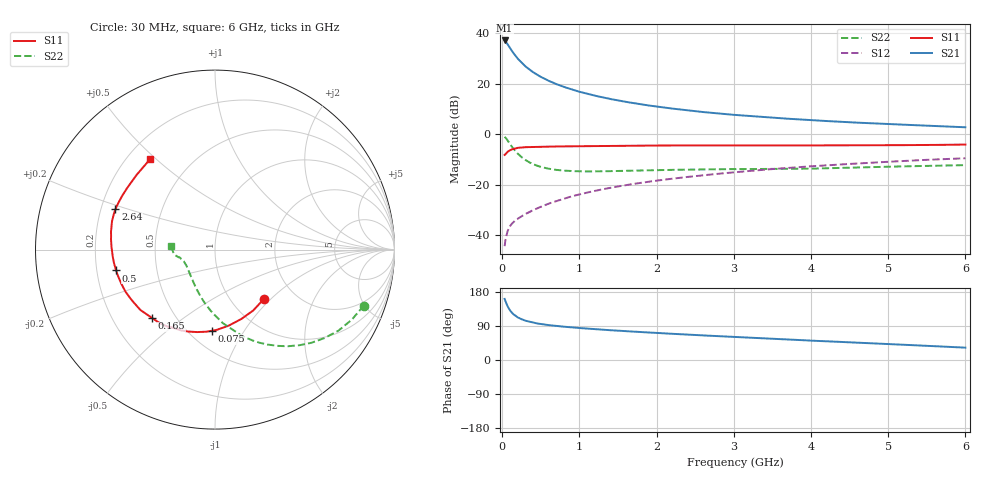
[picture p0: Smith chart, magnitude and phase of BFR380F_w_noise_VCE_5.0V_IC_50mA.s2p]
! Infineon Technologies  Discrete & RF Semiconductors
! BFR380F
! VCE =  5.0 V,  IC =  50 mA
! Common Emitter S-Parameters:  Nov 2015
# GHz  S  MA  R  50
!  f  S11  S21  S12  S22
! GHz  MAG  ANG  MAG  ANG  MAG  ANG  MAG  ANG
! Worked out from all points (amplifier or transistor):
!   206 points, 30 MHz to 6 GHz, reference 50 ohm
!   highest |S21| = 37.2 dB at 30 MHz (marker M1)
!   |S21| within 3 dB of that: start of sweep to 99.94 MHz
!   unconditionally stable (mu >= 1): 911.5 MHz to 4.866 GHz
!   at 200 MHz: K = 0.60, MSG = 31.7 dB, |S12| = -33.6 dB
!   at 1.56 GHz: K = 1.03, MAG = 15.6 dB, |S12| = -20.4 dB
!   at 6 GHz: K = 0.99, MSG = 6.1 dB, |S12| = -9.6 dB
!   lowest NFmin = 1.53 dB at 900 MHz
!   S11 on the Smith chart (normalised r, x): 30 MHz: 1.41, -0.91; 75 MHz: 0.64, -0.73; 165 MHz: 0.37, -0.39; 500 MHz: 0.28, -0.10; 2.64 GHz: 0.26, +0.18; 6 GHz: 0.29, +0.48
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0.03  0.3868 -44.9  72.1 161.2  0.006 77.5  0.8858 -20.6
0.05  0.4136 -69.3  66.76 150.1  0.0092 70.8  0.8226 -33.3
0.07  0.4472 -88.7  60.18 141.1  0.0121 64.9  0.7464 -44.1
0.075  0.4527 -92.4  58.59 139.4  0.0125 63.8  0.7271 -46.4
0.1  0.4804 -108.1  51.02 131.0  0.015 59.8  0.6385 -57.1
0.12  0.4929 -117.8  45.81 125.8  0.0165 58.3  0.5772 -64.2
0.15  0.5138 -128.7  39.39 119.6  0.0184 56.6  0.5017 -72.8
0.165  0.5175 -132.5  36.94 117.7  0.0192 56.5  0.4726 -75.7
0.2  0.5348 -141.0  31.4 112.3  0.021 56.2  0.4106 -84.1
0.24  0.5408 -147.4  27.08 108.5  0.023 57.2  0.3609 -90.9
0.3  0.5513 -155.0  22.07 103.7  0.026 59.0  0.3065 -100.2
0.4  0.558 -162.8  16.89 98.6  0.0311 61.9  0.2539 -111.9
0.5  0.5634 -168.1  13.64 94.9  0.0363 64.3  0.2237 -121.3
0.7  0.5703 -175.0  9.832 89.9  0.0471 67.7  0.1956 -135.0
1.04  0.5778 177.6  6.676 83.8  0.066 70.3  0.1828 -149.3
1.4  0.5855 171.8  4.974 78.6  0.0862 71.1  0.1845 -157.7
2.02  0.5952 164.4  3.49 71.2  0.1207 70.4  0.1933 -163.9
2.64  0.5984 158.0  2.71 64.5  0.1548 68.9  0.2003 -167.2
3.1  0.598 153.9  2.353 60.0  0.1804 67.2  0.2028 -167.9
4.1  0.5978 144.2  1.855 50.3  0.2355 62.8  0.2085 -168.4
5.1  0.6042 135.1  1.562 41.1  0.2882 58.0  0.2278 -173.6
6  0.6209 125.4  1.368 32.6  0.3324 52.7  0.2433 175.9
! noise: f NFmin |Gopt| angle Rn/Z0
0.45  1.55  0.41  -175  0.08
0.9  1.53  0.44  -174  0.07
1.8  1.72  0.48  -162  0.09
1.9  1.81  0.48  -163  0.09
2.4  1.87  0.49  -153  0.12
3.5  2.48  0.54  -144  0.2
